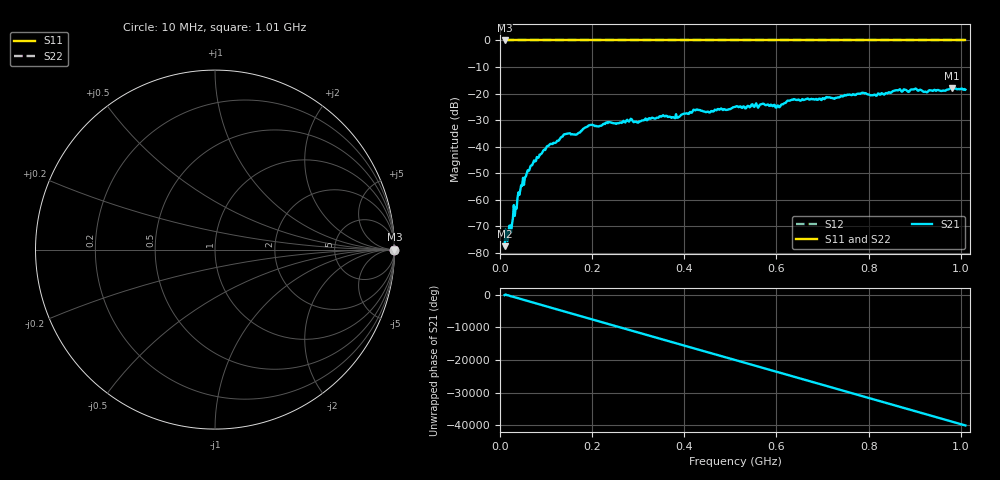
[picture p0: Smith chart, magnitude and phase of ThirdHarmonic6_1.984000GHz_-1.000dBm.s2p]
! 8/16/2025 11:51:24 PM
! C:\ANRITSUVNA\TEMP\TEMP.S2P
! CHANNEL.1
! TR.MEASUREMENT
! RAW.DATA
! RF.CORRECTION.OFF
! AVERAGING.OFF
! IF.BANDWIDTH: 5KHZ
! SWEEPTYPE:  FREQ.SWEEP(Linear)
! Reference Plane Port Info
! PORT:  PORT1  PORT2
! DISTANCE:  0  m  0  m
! TIME:  0  s  0  s
! PHASE.OFFSET:  0  deg.  0  deg.
! LOSS:  0  dB  0  dB
! REF.LOSS:  0  dB  0  dB
! REF.FREQ:  0  Hz  0  Hz
! Power Info
! POWER:  -20  dBm  -20  dBm
! EFF.POWER:  -20  dBm  -20  dBm
! SOURCE.ATTEN:  0  dB  0  dB
! TEST.ATTEN:  0  dB  0  dB
# GHZ S RI R 50.0
! FREQ.GHZ  S11RE  S11IM  S21RE  S21IM  S12RE  S12IM  S22RE  S22IM
!; PortSelection: Port_12
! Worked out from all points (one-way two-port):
!   501 points, 10 MHz to 1.01 GHz, reference 50 ohm
!   highest |S21| = -18.04 dB at 980 MHz (marker M1); lowest = -77.5 dB at 10 MHz (marker M2)
!   lowest |S11| = 0.0 dB at 10 MHz (marker M3)
!   |S11| at or under -10 dB: nowhere
!   |S22| runs from 0.0 to 0.0 dB; largest |S21 - S12| = 1.1
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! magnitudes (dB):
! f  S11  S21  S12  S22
! 10 MHz  0.0  -77.5  0.0  0.0
! 20 MHz  0.0  -69.9  0.0  0.0
! 46 MHz  0.0  -54.5  0.0  0.0
! 70 MHz  0.0  -47.0  0.0  0.0
! 106 MHz  0.0  -39.6  0.0  0.0
! 142 MHz  0.0  -35.3  0.0  0.0
! 164 MHz  0.0  -35.5  0.0  0.0
! 178 MHz  0.0  -33.9  0.0  0.0
! 196 MHz  0.0  -31.9  0.0  0.0
! 300 MHz  0.0  -31.0  0.0  0.0
! 344 MHz  0.0  -29.1  0.0  0.0
! 388 MHz  0.0  -28.9  0.0  0.0
! 424 MHz  0.0  -26.4  0.0  0.0
! 452 MHz  0.0  -26.8  0.0  0.0
! 510 MHz  0.0  -25.0  0.0  0.0
! 570 MHz  0.0  -23.9  0.0  0.0
! 602 MHz  0.0  -24.5  0.0  0.0
! 636 MHz  0.0  -22.4  0.0  0.0
! 678 MHz  0.0  -22.2  0.0  0.0
! 844 MHz  0.0  -19.5  0.0  0.0
! 980 MHz  0.0  -18.0  0.0  0.0
! 1.01 GHz  0.0  -18.5  0.0  0.0
